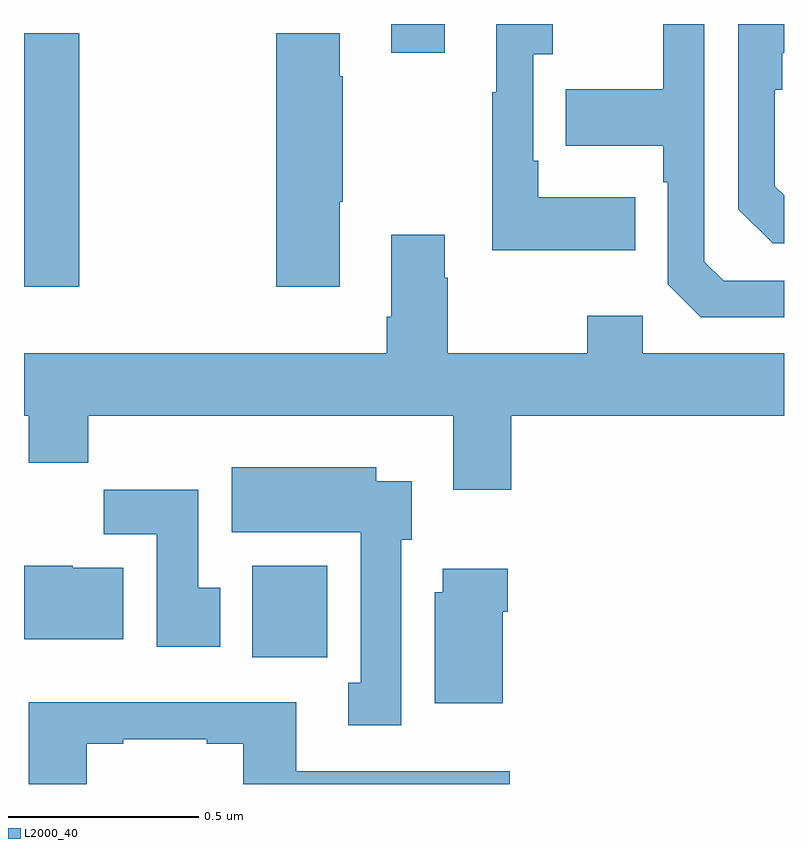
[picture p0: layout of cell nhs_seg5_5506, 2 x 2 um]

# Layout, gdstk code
import gdstk
lib = gdstk.Library(unit=1e-6, precision=1e-09)
def R(c, l, rs):  # rectangles x0, y0, x1, y1
    for r in rs: c.add(gdstk.rectangle(r[:2], r[2:], *l))
def P(c, l, *ps):  # polygons
    for p in ps: c.add(gdstk.Polygon(p, *l))
L2000_40 = (2000, 40)

nhs_seg5_5506 = lib.new_cell('nhs_seg5_5506')
R(nhs_seg5_5506, L2000_40, [(184.601,848.132,184.798,848.374), (184,849.108,184.145,849.775), (184.967,849.723,185.107,849.799)])
P(nhs_seg5_5506, L2000_40, [(186,849.123),(185.841,849.123),(185.79,849.174),(185.79,849.799),(185.682,849.799),(185.682,849.627),(185.425,849.627),(185.425,849.479),(185.682,849.479),(185.682,849.383),(185.694,849.383),(185.694,849.114),(185.781,849.027),(186,849.027)],
  [(186,849.348),(185.976,849.372),(185.976,849.626),(185.996,849.626),(185.996,849.723),(186,849.723),(186,849.799),(185.88,849.799),(185.88,849.312),(185.97,849.222),(186,849.222)],
  [(185.609,849.343),(185.353,849.343),(185.353,849.439),(185.34,849.439),(185.34,849.719),(185.392,849.719),(185.392,849.799),(185.243,849.799),(185.243,849.619),(185.232,849.619),(185.232,849.203),(185.609,849.203)],
  [(184.831,849.331),(184.839,849.331),(184.839,849.662),(184.831,849.662),(184.831,849.775),(184.664,849.775),(184.664,849.108),(184.831,849.108)],
  [(185.282,848.768),(186,848.768),(186,848.932),(185.628,848.932),(185.628,849.031),(185.482,849.031),(185.482,848.932),(185.115,848.932),(185.115,849.131),(185.107,849.131),(185.107,849.244),(184.967,849.244),(184.967,849.028),(184.955,849.028),(184.955,848.932),(184,848.932),(184,848.768),(184.013,848.768),(184.013,848.644),(184.169,848.644),(184.169,848.768),(185.129,848.768),(185.129,848.574),(185.282,848.574)],
  [(184.993,848.442),(185.02,848.442),(185.02,848.596),(184.927,848.596),(184.927,848.632),(184.547,848.632),(184.547,848.462),(184.886,848.462),(184.886,848.066),(184.853,848.066),(184.853,847.953),(184.993,847.953)],
  [(184.516,848.316),(184.459,848.316),(184.459,848.574),(184.21,848.574),(184.21,848.456),(184.349,848.456),(184.349,848.16),(184.516,848.16)],
  [(184.261,848.368),(184.128,848.368),(184.128,848.374),(184,848.374),(184,848.18),(184.261,848.18)],
  [(185.26,848.252),(185.273,848.252),(185.273,848.365),(185.102,848.365),(185.102,848.304),(185.081,848.304),(185.081,848.012),(185.26,848.012)],
  [(184.165,847.905),(184.261,847.905),(184.261,847.917),(184.481,847.917),(184.481,847.905),(184.577,847.905),(184.577,847.799),(185.278,847.799),(185.278,847.833),(184.717,847.833),(184.717,848.014),(184.013,848.014),(184.013,847.799),(184.165,847.799)])

lib.write_gds('nhs_seg5_5506.gds')
